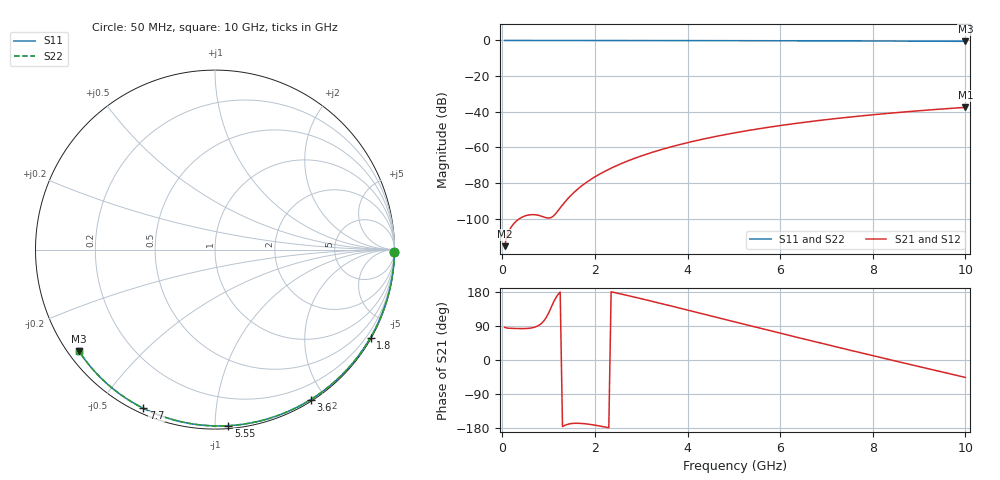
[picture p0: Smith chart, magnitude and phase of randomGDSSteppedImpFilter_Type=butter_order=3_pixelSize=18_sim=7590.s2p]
! freq	dB(S11)	phase(S11)	dB(S12)	phase(S12)
!  dB(S21)	phase(S21)	dB(S22)	phase(S22)
!S-par simulation data
#  GHz  S  DB  R 50
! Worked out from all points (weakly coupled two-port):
!   200 points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, 50 MHz to 10 GHz, reference 50 ohm
!   highest |S21| = -37.52 dB at 10 GHz (marker M1); lowest = -115.4 dB at 50 MHz (marker M2)
!   lowest |S11| = -0.5 dB at 10 GHz (marker M3), VSWR 35.77, Z = 1.55 - j16.6 ohm
!   |S11| at or under -10 dB: nowhere
!   |S22| runs from -0.5 to 0.0 dB; largest |S21 - S12| = 0
!   S11 on the Smith chart (normalised r, x): 50 MHz: open; 1.8 GHz: 0.03, -3.80; 3.6 GHz: 0.02, -1.82; 5.55 GHz: 0.02, -1.08; 7.7 GHz: 0.02, -0.65; 10 GHz: 0.03, -0.33
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0.05  -0.00 -0.8  -115.37 86.3  -115.37 86.3  -0.00 -0.8
0.45  -0.01 -7.5  -98.83 82.8  -98.83 82.8  -0.01 -7.5
0.9  -0.02 -14.9  -99.03 103.5  -99.03 103.5  -0.02 -14.9
1.3  -0.03 -21.4  -92.24 -175.8  -92.24 -175.8  -0.03 -21.4
1.75  -0.04 -28.7  -80.85 -167.8  -80.85 -167.8  -0.04 -28.7
1.8  -0.04 -29.5  -79.89 -168.5  -79.89 -168.5  -0.04 -29.5
1.95  -0.04 -31.9  -77.29 -170.9  -77.29 -170.9  -0.04 -31.9
2.1  -0.04 -34.3  -74.99 -174.1  -74.99 -174.1  -0.04 -34.3
2.3  -0.05 -37.4  -72.26 -178.8  -72.26 -178.8  -0.05 -37.4
2.5  -0.05 -40.6  -69.84 175.9  -69.84 175.9  -0.05 -40.6
2.9  -0.06 -46.8  -65.70 164.7  -65.70 164.7  -0.06 -46.8
3.4  -0.07 -54.5  -61.46 149.9  -61.46 149.9  -0.07 -54.5
3.6  -0.08 -57.5  -59.98 143.9  -59.98 143.9  -0.08 -57.5
4.3  -0.10 -67.9  -55.52 122.6  -55.52 122.6  -0.10 -67.9
5.05  -0.12 -78.7  -51.67 99.7  -51.67 99.7  -0.12 -78.7
5.55  -0.14 -85.7  -49.48 84.5  -49.48 84.5  -0.14 -85.7
6.1  -0.17 -93.2  -47.36 67.9  -47.36 67.9  -0.17 -93.2
6.7  -0.20 -101.2  -45.33 49.9  -45.33 49.9  -0.20 -101.2
7.7  -0.26 -114.2  -42.44 20.3  -42.44 20.3  -0.26 -114.2
8.35  -0.31 -122.5  -40.84 1.3  -40.84 1.3  -0.31 -122.5
9.2  -0.40 -133.2  -39.01 -23.1  -39.01 -23.1  -0.40 -133.2
10  -0.49 -143.3  -37.52 -46.0  -37.52 -46.0  -0.49 -143.3
